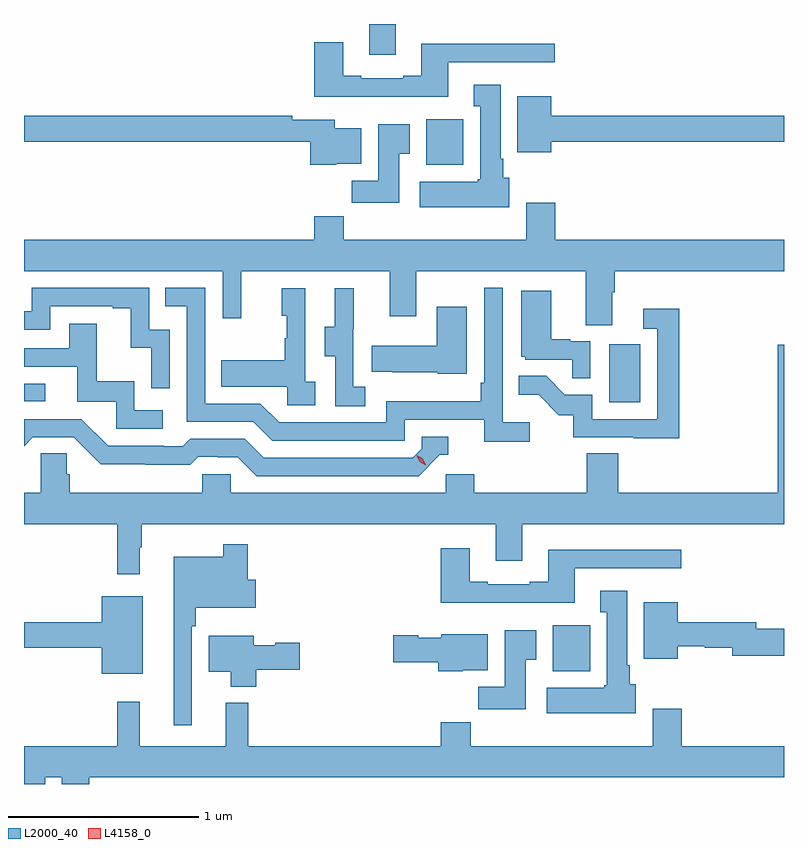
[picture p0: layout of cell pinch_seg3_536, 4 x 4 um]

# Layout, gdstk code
import gdstk
lib = gdstk.Library(unit=1e-6, precision=1e-09)
def R(c, l, rs):  # rectangles x0, y0, x1, y1
    for r in rs: c.add(gdstk.rectangle(r[:2], r[2:], *l))
def P(c, l, *ps):  # polygons
    for p in ps: c.add(gdstk.Polygon(p, *l))
L2000_40 = (2000, 40)
L4158_0 = (4158, 0)

pinch_seg3_536 = lib.new_cell('pinch_seg3_536')
R(pinch_seg3_536, L2000_40, [(1105.679,689.486,1105.876,689.728), (1105.976,690.9,1106.14,691.207), (1102.897,690.906,1103.008,690.999), (1105.013,692.15,1105.21,692.392), (1104.713,692.73,1104.853,692.892)])
P(pinch_seg3_536, L2000_40, [(1105.129,692.691),(1105.69,692.691),(1105.69,692.788),(1104.989,692.788),(1104.989,692.62),(1104.893,692.62),(1104.893,692.607),(1104.673,692.607),(1104.673,692.62),(1104.577,692.62),(1104.577,692.797),(1104.425,692.797),(1104.425,692.51),(1105.129,692.51)],
  [(1105.45,692.082),(1105.42,692.082),(1105.42,692.182),(1105.405,692.182),(1105.405,692.572),(1105.265,692.572),(1105.265,692.459),(1105.298,692.459),(1105.298,692.076),(1105.285,692.076),(1105.285,692.062),(1104.981,692.062),(1104.981,691.928),(1105.45,691.928)],
  [(1105.672,692.272),(1106.897,692.272),(1106.897,692.408),(1105.672,692.408),(1105.672,692.512),(1105.493,692.512),(1105.493,692.216),(1105.672,692.216)],
  [(1104.54,692.156),(1104.673,692.156),(1104.673,692.344),(1104.532,692.344),(1104.532,692.388),(1104.308,692.388),(1104.308,692.408),(1102.897,692.408),(1102.897,692.272),(1104.404,692.272),(1104.404,692.15),(1104.54,692.15)],
  [(1104.871,692.209),(1104.928,692.209),(1104.928,692.365),(1104.761,692.365),(1104.761,692.068),(1104.622,692.068),(1104.622,691.95),(1104.871,691.95)],
  [(1105.993,691.48),(1106.006,691.48),(1106.006,691.592),(1106.897,691.592),(1106.897,691.756),(1105.694,691.756),(1105.694,691.951),(1105.541,691.951),(1105.541,691.756),(1104.581,691.756),(1104.581,691.88),(1104.425,691.88),(1104.425,691.756),(1102.897,691.756),(1102.897,691.592),(1103.943,691.592),(1103.943,691.344),(1104.041,691.344),(1104.041,691.592),(1104.821,691.592),(1104.821,691.353),(1104.961,691.353),(1104.961,691.592),(1105.853,691.592),(1105.853,691.306),(1105.993,691.306)],
  [(1105.558,690.796),(1105.416,690.796),(1105.416,691.504),(1105.32,691.504),(1105.32,691.003),(1105.3,691.003),(1105.3,690.907),(1104.804,690.907),(1104.804,690.795),(1104.24,690.795),(1104.141,690.894),(1103.85,690.894),(1103.85,691.503),(1103.641,691.503),(1103.641,691.407),(1103.754,691.407),(1103.754,690.798),(1104.104,690.798),(1104.203,690.699),(1104.9,690.699),(1104.9,690.81),(1105.319,690.81),(1105.319,690.694),(1105.558,690.694)],
  [(1103.664,691.284),(1103.556,691.284),(1103.556,691.503),(1102.938,691.503),(1102.938,691.38),(1102.897,691.38),(1102.897,691.284),(1103.034,691.284),(1103.034,691.407),(1103.363,691.407),(1103.363,691.395),(1103.459,691.395),(1103.459,691.187),(1103.568,691.187),(1103.568,690.975),(1103.664,690.975)],
  [(1104.694,690.983),(1104.63,690.983),(1104.63,691.287),(1104.632,691.287),(1104.632,691.501),(1104.533,691.501),(1104.533,691.299),(1104.479,691.299),(1104.479,691.144),(1104.534,691.144),(1104.534,690.88),(1104.694,690.88)],
  [(1104.43,691.01),(1104.378,691.01),(1104.378,691.501),(1104.254,691.501),(1104.254,691.356),(1104.28,691.356),(1104.28,691.238),(1104.27,691.238),(1104.27,691.123),(1103.935,691.123),(1103.935,690.983),(1104.282,690.983),(1104.282,690.885),(1104.43,690.885)],
  [(1105.878,691.221),(1105.772,691.221),(1105.772,691.234),(1105.672,691.234),(1105.672,691.489),(1105.514,691.489),(1105.514,691.14),(1105.536,691.14),(1105.536,691.125),(1105.783,691.125),(1105.783,691.027),(1105.878,691.027)],
  [(1105.228,691.405),(1105.07,691.405),(1105.07,691.198),(1104.727,691.198),(1104.727,691.061),(1104.835,691.061),(1104.835,691.058),(1105.074,691.058),(1105.074,691.052),(1105.228,691.052)],
  [(1106.345,691.393),(1106.157,691.393),(1106.157,691.287),(1106.229,691.287),(1106.229,690.813),(1105.887,690.813),(1105.887,690.942),(1105.743,690.942),(1105.645,691.04),(1105.501,691.04),(1105.501,690.941),(1105.605,690.941),(1105.712,690.834),(1105.789,690.834),(1105.789,690.717),(1106.107,690.717),(1106.107,690.712),(1106.345,690.712)],
  [(1103.626,690.858),(1103.478,690.858),(1103.478,691.012),(1103.279,691.012),(1103.279,691.315),(1103.135,691.315),(1103.135,691.185),(1102.897,691.185),(1102.897,691.089),(1103.177,691.089),(1103.177,690.903),(1103.382,690.903),(1103.382,690.762),(1103.626,690.762)],
  [(1103.506,690.137),(1103.518,690.137),(1103.518,690.26),(1105.379,690.26),(1105.379,690.066),(1105.519,690.066),(1105.519,690.26),(1106.897,690.26),(1106.897,691.204),(1106.864,691.204),(1106.864,690.424),(1106.024,690.424),(1106.024,690.632),(1105.859,690.632),(1105.859,690.424),(1105.268,690.424),(1105.268,690.522),(1105.116,690.522),(1105.116,690.424),(1103.985,690.424),(1103.985,690.522),(1103.835,690.522),(1103.835,690.424),(1103.138,690.424),(1103.138,690.522),(1103.123,690.522),(1103.123,690.632),(1102.986,690.632),(1102.986,690.424),(1102.897,690.424),(1102.897,690.26),(1103.389,690.26),(1103.389,689.997),(1103.506,689.997)],
  [(1105.086,690.624),(1105.129,690.624),(1105.129,690.72),(1104.99,690.72),(1104.99,690.657),(1104.942,690.609),(1104.159,690.609),(1104.06,690.708),(1103.771,690.708),(1103.732,690.669),(1103.633,690.669),(1103.633,690.672),(1103.34,690.672),(1103.199,690.813),(1102.897,690.813),(1102.897,690.67),(1102.944,690.717),(1103.16,690.717),(1103.302,690.575),(1103.538,690.575),(1103.538,690.573),(1103.771,690.573),(1103.813,690.615),(1103.916,690.615),(1103.916,690.612),(1104.023,690.612),(1104.122,690.513),(1104.975,690.513)],
  [(1103.781,689.723),(1103.801,689.723),(1103.801,689.819),(1104.118,689.819),(1104.118,689.967),(1104.074,689.967),(1104.074,690.154),(1103.946,690.154),(1103.946,690.088),(1103.684,690.088),(1103.684,689.202),(1103.781,689.202)],
  [(1105.795,690.027),(1106.356,690.027),(1106.356,690.124),(1105.655,690.124),(1105.655,689.956),(1105.559,689.956),(1105.559,689.943),(1105.339,689.943),(1105.339,689.956),(1105.243,689.956),(1105.243,690.133),(1105.091,690.133),(1105.091,689.846),(1105.795,689.846)],
  [(1106.116,689.418),(1106.086,689.418),(1106.086,689.518),(1106.071,689.518),(1106.071,689.908),(1105.931,689.908),(1105.931,689.795),(1105.964,689.795),(1105.964,689.412),(1105.951,689.412),(1105.951,689.398),(1105.647,689.398),(1105.647,689.264),(1106.116,689.264)],
  [(1103.521,689.881),(1103.306,689.881),(1103.306,689.744),(1102.897,689.744),(1102.897,689.608),(1103.306,689.608),(1103.306,689.471),(1103.521,689.471)],
  [(1106.338,689.616),(1106.481,689.616),(1106.481,689.608),(1106.624,689.608),(1106.624,689.566),(1106.897,689.566),(1106.897,689.708),(1106.752,689.708),(1106.752,689.744),(1106.338,689.744),(1106.338,689.848),(1106.159,689.848),(1106.159,689.552),(1106.338,689.552)],
  [(1105.537,689.545),(1105.594,689.545),(1105.594,689.701),(1105.427,689.701),(1105.427,689.404),(1105.288,689.404),(1105.288,689.286),(1105.537,689.286)],
  [(1105.206,689.492),(1105.339,689.492),(1105.339,689.68),(1105.092,689.68),(1105.092,689.662),(1104.972,689.662),(1104.972,689.675),(1104.84,689.675),(1104.84,689.533),(1105.076,689.533),(1105.076,689.486),(1105.206,689.486)],
  [(1104.119,689.494),(1104.349,689.494),(1104.349,689.636),(1104.219,689.636),(1104.219,689.623),(1104.106,689.623),(1104.106,689.671),(1103.87,689.671),(1103.87,689.483),(1103.984,689.483),(1103.984,689.405),(1104.119,689.405)],
  [(1103.008,688.928),(1103.096,688.928),(1103.096,688.892),(1103.24,688.892),(1103.24,688.928),(1106.897,688.928),(1106.897,689.092),(1106.36,689.092),(1106.36,689.287),(1106.207,689.287),(1106.207,689.092),(1105.247,689.092),(1105.247,689.216),(1105.091,689.216),(1105.091,689.092),(1104.077,689.092),(1104.077,689.32),(1103.96,689.32),(1103.96,689.092),(1103.507,689.092),(1103.507,689.326),(1103.389,689.326),(1103.389,689.092),(1102.897,689.092),(1102.897,688.892),(1103.008,688.892)])
P(pinch_seg3_536, L4158_0, [(1105.012,690.57),(1104.981,690.589),(1104.965,690.622),(1104.965,690.622),(1104.965,690.622),(1104.996,690.603),(1105.012,690.57),(1105.012,690.57)])

lib.write_gds('pinch_seg3_536.gds')
